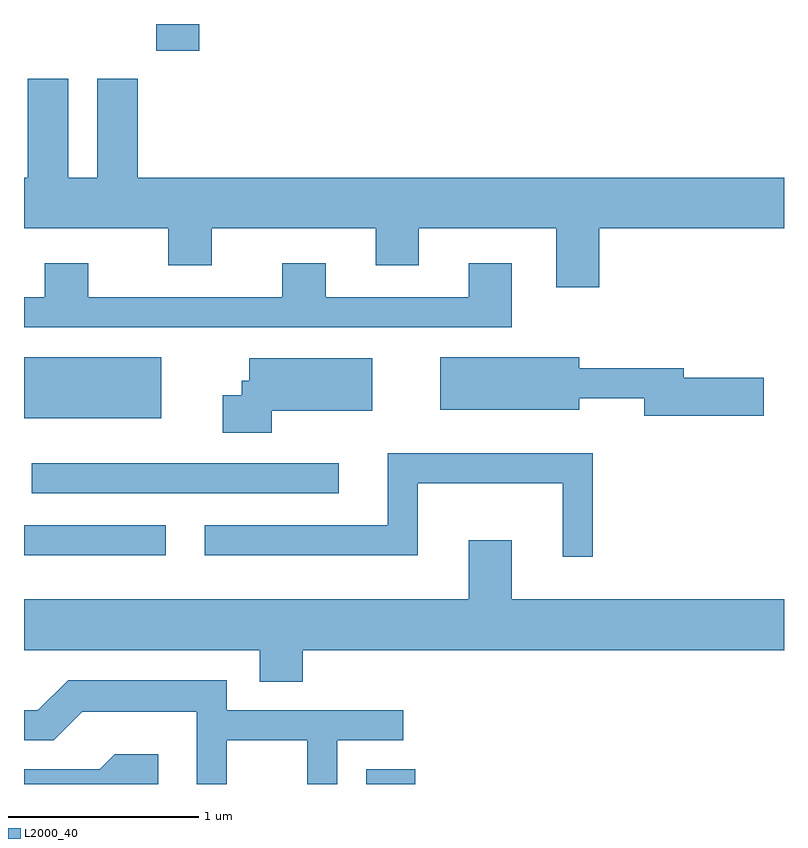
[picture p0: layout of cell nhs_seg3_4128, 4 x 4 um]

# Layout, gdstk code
import gdstk
lib = gdstk.Library(unit=1e-6, precision=1e-09)
def R(c, l, rs):  # rectangles x0, y0, x1, y1
    for r in rs: c.add(gdstk.rectangle(r[:2], r[2:], *l))
def P(c, l, *ps):  # polygons
    for p in ps: c.add(gdstk.Polygon(p, *l))
L2000_40 = (2000, 40)

nhs_seg3_4128 = lib.new_cell('nhs_seg3_4128')
R(nhs_seg3_4128, L2000_40, [(307.411,1211.892,307.669,1211.969), (305.611,1213.096,306.358,1213.254), (305.653,1213.421,307.268,1213.579), (305.611,1213.816,306.334,1214.139), (306.306,1215.751,306.534,1215.892)])
P(nhs_seg3_4128, L2000_40, [(308.639,1214.816),(309.611,1214.816),(309.611,1215.084),(306.209,1215.084),(306.209,1215.604),(305.996,1215.604),(305.996,1215.084),(305.844,1215.084),(305.844,1215.604),(305.631,1215.604),(305.631,1215.084),(305.611,1215.084),(305.611,1214.816),(306.371,1214.816),(306.371,1214.621),(306.599,1214.621),(306.599,1214.816),(307.461,1214.816),(307.461,1214.621),(307.689,1214.621),(307.689,1214.816),(308.411,1214.816),(308.411,1214.506),(308.639,1214.506)],
  [(308.179,1214.634),(307.951,1214.634),(307.951,1214.454),(307.199,1214.454),(307.199,1214.634),(306.971,1214.634),(306.971,1214.454),(305.949,1214.454),(305.949,1214.634),(305.721,1214.634),(305.721,1214.454),(305.611,1214.454),(305.611,1214.296),(308.179,1214.296)],
  [(309.504,1214.029),(309.084,1214.029),(309.084,1214.079),(308.534,1214.079),(308.534,1214.139),(307.801,1214.139),(307.801,1213.861),(308.534,1213.861),(308.534,1213.921),(308.876,1213.921),(308.876,1213.831),(309.504,1213.831)],
  [(306.914,1213.856),(307.444,1213.856),(307.444,1214.134),(306.796,1214.134),(306.796,1214.014),(306.756,1214.014),(306.756,1213.939),(306.656,1213.939),(306.656,1213.741),(306.914,1213.741)],
  [(308.604,1213.634),(307.526,1213.634),(307.526,1213.254),(306.563,1213.254),(306.563,1213.096),(307.684,1213.096),(307.684,1213.476),(308.446,1213.476),(308.446,1213.088),(308.604,1213.088)],
  [(307.079,1212.596),(309.611,1212.596),(309.611,1212.864),(308.179,1212.864),(308.179,1213.174),(307.951,1213.174),(307.951,1212.864),(305.611,1212.864),(305.611,1212.596),(306.851,1212.596),(306.851,1212.431),(307.079,1212.431)],
  [(306.679,1212.121),(307.101,1212.121),(307.101,1211.892),(307.259,1211.892),(307.259,1212.121),(307.608,1212.121),(307.608,1212.279),(306.679,1212.279),(306.679,1212.439),(305.844,1212.439),(305.684,1212.279),(305.611,1212.279),(305.611,1212.121),(305.767,1212.121),(305.917,1212.271),(306.521,1212.271),(306.521,1211.892),(306.679,1211.892)],
  [(306.318,1212.049),(306.089,1212.049),(306.009,1211.969),(305.611,1211.969),(305.611,1211.892),(306.318,1211.892)])

lib.write_gds('nhs_seg3_4128.gds')
